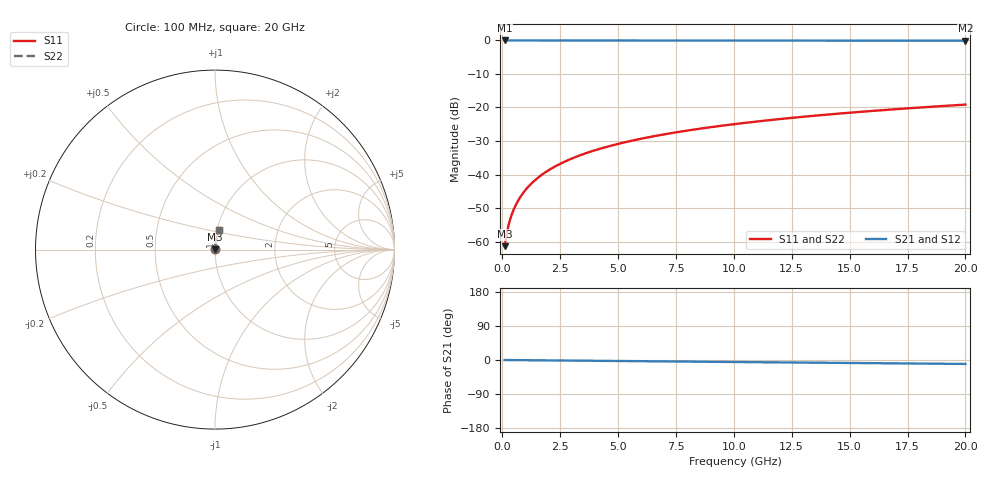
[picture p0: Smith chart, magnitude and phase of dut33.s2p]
! Touchstone file exported from HFSS 2026.1.0
!  File:  C:/ffzhzh/LocalFiles/Ansys_Project_Files/temp_train_TMRDL_33_1782880571_42304.aedt
!  Generated:  12:37:22 PM Jul  1, 2026
!  Design:  TMRDL
!  Project:  temp_train_TMRDL_33_1782880571_42304
! Variables:
!  h_bsmrdl = 2um
!  h_ox = 20um
!  h_rdl = 5um
!  h_sub = 80um
!  h_tmrdl = 4.16um
!  h_tsv = 80um
!  h_via = 3um
!  l_bsmrdl = 300um
!  l_sub = 508.55um
!  l_tmrdl = 108.55um
!  m_sub = 200um
!  pitch = 52.31um
!  r_tsv = 6um
!  s_tmrdl = 10um
!  w_bsmrdl = 18um
!  w_sub = 500um
!  w_tmrdl = 23.78um
!  x_tsv_center1 = 120.44um
!  x_tsv_center2 = 438.44um
!  x_tsv_center3 = 570.77um
!  x_tsv_center4 = 888.77um
!  x_tsv_center5 = 1021.1um
!  x_tsv_center6 = 1339.1um
# GHz S MA R 50.000000
! Terminal data exported
! Port[1] = TM_RDL1_1_T1
! Port[2] = TM_RDL1_1_T2
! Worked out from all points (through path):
!   200 points, 100 MHz to 20 GHz, reference 50 ohm
!   highest |S21| = -0.01 dB at 100 MHz (marker M1); lowest = -0.1 dB at 20 GHz (marker M2)
!   group delay of S21, straight-line fit = 1.44 ps
!   lowest |S11| = -61.4 dB at 100 MHz (marker M3), VSWR 1.00, Z = 50.1 + j0.0624 ohm
!   |S11| at or under -10 dB: start of sweep to end of sweep
!   |S22| runs from -61.4 to -19.1 dB; largest |S21 - S12| = 2.3e-15
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0.1  0.0008547 46.8  0.9994 -0.1  0.9994 -0.1  0.0008547 46.8
! Gamma 0 0 0 0
! Port Impedance 50 0 50 0
0.2  0.001375 63.3  0.9994 -0.1  0.9994 -0.1  0.001375 63.3
0.3  0.001928 70.3  0.9994 -0.2  0.9994 -0.2  0.001928 70.3
0.4  0.002486 74.1  0.9993 -0.2  0.9993 -0.2  0.002486 74.1
0.5  0.003046 76.6  0.9993 -0.3  0.9993 -0.3  0.003046 76.6
0.7  0.004174 79.8  0.9993 -0.4  0.9993 -0.4  0.004174 79.8
0.8  0.004741 80.8  0.9993 -0.4  0.9993 -0.4  0.004741 80.8
1  0.00588 82.2  0.9992 -0.5  0.9992 -0.5  0.00588 82.2
1.2  0.007022 83.2  0.9992 -0.6  0.9992 -0.6  0.007022 83.2
1.4  0.008167 83.8  0.9992 -0.7  0.9992 -0.7  0.008167 83.8
1.7  0.009887 84.4  0.9991 -0.9  0.9991 -0.9  0.009887 84.4
2  0.01161 84.8  0.9991 -1.1  0.9991 -1.1  0.01161 84.8
2.7  0.01561 85.2  0.999 -1.4  0.999 -1.4  0.01561 85.2
3.5  0.02017 85.2  0.9988 -1.9  0.9988 -1.9  0.02017 85.2
4.2  0.02413 85.1  0.9986 -2.2  0.9986 -2.2  0.02413 85.1
5  0.02864 84.8  0.9983 -2.7  0.9983 -2.7  0.02864 84.8
6.8  0.0387 84.1  0.9977 -3.6  0.9977 -3.6  0.0387 84.1
8.3  0.04701 83.5  0.9972 -4.4  0.9972 -4.4  0.04701 83.5
10.1  0.05692 82.7  0.9964 -5.3  0.9964 -5.3  0.05692 82.7
13.4  0.07494 81.2  0.9949 -7.0  0.9949 -7.0  0.07494 81.2
16.7  0.09279 79.7  0.9931 -8.7  0.9931 -8.7  0.09279 79.7
20  0.1105 78.1  0.9911 -10.4  0.9911 -10.4  0.1105 78.1
